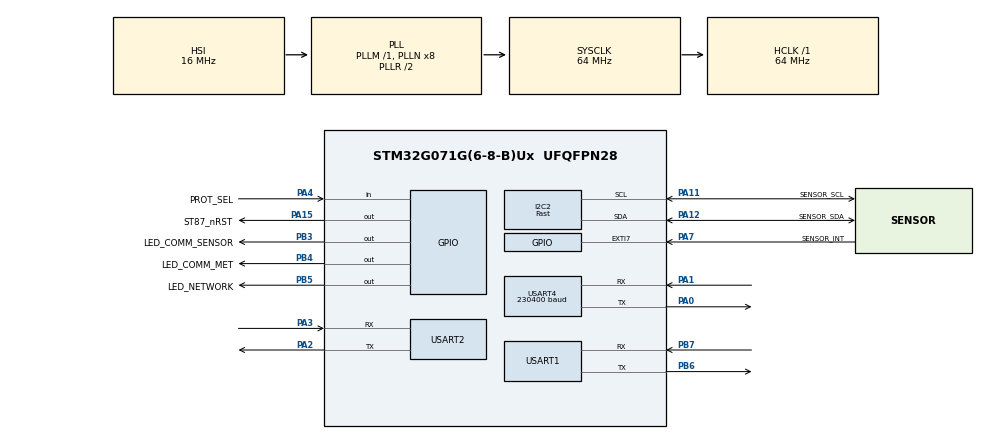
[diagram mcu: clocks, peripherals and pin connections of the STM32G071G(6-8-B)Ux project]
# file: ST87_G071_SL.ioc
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Dma.Request0=USART4_TX
Dma.USART4_TX.0.Direction=DMA_MEMORY_TO_PERIPH
Dma.USART4_TX.0.EventEnable=DISABLE
Dma.USART4_TX.0.Instance=DMA1_Channel4
Dma.USART4_TX.0.MemDataAlignment=DMA_MDATAALIGN_BYTE
Dma.USART4_TX.0.MemInc=DMA_MINC_ENABLE
Dma.USART4_TX.0.Mode=DMA_NORMAL
Dma.USART4_TX.0.PeriphDataAlignment=DMA_PDATAALIGN_BYTE
Dma.USART4_TX.0.PeriphInc=DMA_PINC_DISABLE
Dma.USART4_TX.0.Polarity=HAL_DMAMUX_REQ_GEN_RISING
Dma.USART4_TX.0.Priority=DMA_PRIORITY_LOW
Dma.USART4_TX.0.RequestNumber=1
Dma.USART4_TX.0.SignalID=NONE
Dma.USART4_TX.0.SyncEnable=DISABLE
Dma.USART4_TX.0.SyncPolarity=HAL_DMAMUX_SYNC_NO_EVENT
Dma.USART4_TX.0.SyncRequestNumber=1
Dma.USART4_TX.0.SyncSignalID=NONE
FREERTOS.Queues01=MetroQueue,1,20,1,Dynamic,NULL,NULL;SensorQueue,1,20,1,Dynamic,NULL,NULL;LedStatusQueue,1,4,1,Dynamic,NULL,NULL;MetroCommStatus,1,uint8_t,0,Dynamic,NULL,NULL;ST87CommStatus,1,uint8_t,0,Dynamic,NULL,NULL;LedStatusQueueCloud,1,4,1,Dynamic,NULL,NULL
FREERTOS.Tasks01=defaultTask,24,128,StartDefaultTask,Default,NULL,Dynamic,NULL,NULL;CloudTask,24,128,StartCloudTask,Default,NULL,Dynamic,NULL,NULL;MetroTask,24,128,StartMetroTask,Default,NULL,Dynamic,NULL,NULL;SensorTask,24,128,StartSensorTask,Default,NULL,Dynamic,NULL,NULL
FREERTOS.configTOTAL_HEAP_SIZE=12000
I2C2.I2C_Speed_Mode=I2C_Fast
I2C2.Timing=0x00C12166
Mcu.Family=STM32G0
Mcu.Name=STM32G071G(6-8-B)Ux
Mcu.Package=UFQFPN28
NVIC.DMA1_Ch4_7_DMAMUX1_OVR_IRQn=true\:3\:0\:false\:false\:true\:false\:false\:true\:true
NVIC.TIM1_BRK_UP_TRG_COM_IRQn=true\:1\:0\:true\:false\:true\:false\:true\:true\:true
NVIC.TIM6_DAC_LPTIM1_IRQn=true\:3\:0\:false\:false\:true\:false\:false\:true\:true
NVIC.TimeBase=TIM6_DAC_LPTIM1_IRQn
NVIC.TimeBaseIP=TIM6
NVIC.USART2_IRQn=true\:2\:0\:true\:false\:true\:false\:true\:true\:true
NVIC.USART3_4_LPUART1_IRQn=true\:3\:0\:false\:false\:true\:true\:true\:true\:true
PA0.Mode=Asynchronous
PA0.Signal=USART4_TX
PA1.Mode=Asynchronous
PA1.Signal=USART4_RX
PA11\ [PA9].GPIO_Label=SENSOR_SCL
PA11\ [PA9].Mode=I2C
PA11\ [PA9].Signal=I2C2_SCL
PA12\ [PA10].GPIO_Label=SENSOR_SDA
PA12\ [PA10].Mode=I2C
PA12\ [PA10].Signal=I2C2_SDA
PA15.GPIO_Label=ST87_nRST
PA15.Signal=GPIO_Output
PA2.GPIO_Speed=GPIO_SPEED_FREQ_MEDIUM
PA2.Mode=Asynchronous
PA2.Signal=USART2_TX
PA3.GPIO_Speed=GPIO_SPEED_FREQ_MEDIUM
PA3.Mode=Asynchronous
PA3.Signal=USART2_RX
PA4.GPIO_Label=PROT_SEL
PA4.GPIO_PuPd=GPIO_PULLUP
PA4.Signal=GPIO_Input
PA7.GPIO_Label=SENSOR_INT
PA7.GPIO_PuPd=GPIO_NOPULL
PA7.Signal=GPXTI7
PB3.GPIO_Label=LED_COMM_SENSOR
PB3.Signal=GPIO_Output
PB4.GPIO_Label=LED_COMM_MET
PB4.Signal=GPIO_Output
PB5.GPIO_Label=LED_NETWORK
PB5.Signal=GPIO_Output
PB6.Mode=Asynchronous
PB6.Signal=USART1_TX
PB7.Mode=Asynchronous
PB7.Signal=USART1_RX
ProjectManager.HeapSize=0x400
ProjectManager.StackSize=0x800
ProjectManager.TargetToolchain=EWARM V8.50
RCC.ADCFreq_Value=64000000
RCC.AHBFreq_Value=64000000
RCC.CortexFreq_Value=64000000
RCC.EXTERNAL_CLOCK_VALUE=48000
RCC.HCLKFreq_Value=64000000
RCC.HSE_VALUE=8000000
RCC.HSI_VALUE=16000000
RCC.LSE_VALUE=32768
RCC.PLLQ=RCC_PLLQ_DIV4
RCC.SYSCLKFreq_VALUE=64000000
RCC.SYSCLKSource=RCC_SYSCLKSOURCE_PLLCLK
RCC.VCOOutputFreq_Value=128000000
TIM1.Period=63999
USART1.DataInvertParam=ADVFEATURE_DATAINV_DISABLE
USART1.SwapParam=ADVFEATURE_SWAP_ENABLE
USART1.VirtualMode-Asynchronous=VM_ASYNC
USART2.SwapParam=ADVFEATURE_SWAP_ENABLE
USART2.VirtualMode-Asynchronous=VM_ASYNC
USART4.BaudRate=230400
USART4.VirtualMode-Asynchronous=VM_ASYNC
VP_FREERTOS_VS_CMSIS_V2.Mode=CMSIS_V2
VP_SYS_VS_DBSignals.Mode=DisableDeadBatterySignals
VP_SYS_VS_tim6.Mode=TIM6
VP_TIM1_VS_ClockSourceINT.Mode=Internal
board=custom

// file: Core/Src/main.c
/* USER CODE BEGIN Header */
/**
  ******************************************************************************
  * @file           : main.c
  * @brief          : Main program body
  ******************************************************************************
  * @attention
  *
  * Copyright (c) 2024 STMicroelectronics.
  * All rights reserved.
  *
  * This software is licensed under terms that can be found in the LICENSE file
  * in the root directory of this software component.
  * If no LICENSE file comes with this software, it is provided AS-IS.
  *
  ******************************************************************************
  */

/************** This version is based on ST87_G071_SL_V007_OK ************/
/********Compatible with ST87 FW version > 2.6.0 *******************
 * - added TCP/UDP selection through PA4 (P3 connector - pin1 )
 * - Tx time configurable from 5 to 60sec via webpage
 * - Stable connection with TIM
 * - changed size of cloud_data_t, lamp_info_t, led_status_t
 * - New webserver format
 */
/* USER CODE END Header */

#include "main.h"
#include "cmsis_os.h"

/* USER CODE BEGIN Includes */
#include "std_types.h"
#include "m2m_modem.h"
#include "stm32_st87m01.h"
#include "cloud_module.h"
#include "metrology_module.h"
#include "lis2du12_reg.h"
#include "sensor_module.h"
#include "modem_globals.h"
/* USER CODE END Includes */

I2C_HandleTypeDef hi2c2;

TIM_HandleTypeDef htim1;

UART_HandleTypeDef huart1;
UART_HandleTypeDef huart2;
UART_HandleTypeDef huart4;
DMA_HandleTypeDef hdma_usart4_tx;

/* Definitions for defaultTask */
osThreadId_t defaultTaskHandle;
const osThreadAttr_t defaultTask_attributes = {
  .name = "defaultTask",
  .priority = (osPriority_t) osPriorityNormal,
  .stack_size = 128 * 4
};
/* Definitions for CloudTask */
osThreadId_t CloudTaskHandle;
const osThreadAttr_t CloudTask_attributes = {
  .name = "CloudTask",
  .priority = (osPriority_t) osPriorityNormal,
  .stack_size = 128 * 4
};
/* Definitions for MetroTask */
osThreadId_t MetroTaskHandle;
const osThreadAttr_t MetroTask_attributes = {
  .name = "MetroTask",
  .priority = (osPriority_t) osPriorityNormal,
  .stack_size = 128 * 4
};
/* Definitions for SensorTask */
osThreadId_t SensorTaskHandle;
const osThreadAttr_t SensorTask_attributes = {
  .name = "SensorTask",
  .priority = (osPriority_t) osPriorityNormal,
  .stack_size = 128 * 4
};
/* Definitions for MetroQueue */
osMessageQueueId_t MetroQueueHandle;
const osMessageQueueAttr_t MetroQueue_attributes = {
  .name = "MetroQueue"
};
/* Definitions for SensorQueue */
osMessageQueueId_t SensorQueueHandle;
const osMessageQueueAttr_t SensorQueue_attributes = {
  .name = "SensorQueue"
};
/* Definitions for LedStatusQueue */
osMessageQueueId_t LedStatusQueueHandle;
const osMessageQueueAttr_t LedStatusQueue_attributes = {
  .name = "LedStatusQueue"
};
/* Definitions for MetroCommStatus */
osMessageQueueId_t MetroCommStatusHandle;
const osMessageQueueAttr_t MetroCommStatus_attributes = {
  .name = "MetroCommStatus"
};
/* Definitions for ST87CommStatus */
osMessageQueueId_t ST87CommStatusHandle;
const osMessageQueueAttr_t ST87CommStatus_attributes = {
  .name = "ST87CommStatus"
};
/* Definitions for LedStatusQueueCloud */
osMessageQueueId_t LedStatusQueueCloudHandle;
const osMessageQueueAttr_t LedStatusQueueCloud_attributes = {
  .name = "LedStatusQueueCloud"
};
/* USER CODE BEGIN PV */
uint32_t urc_counter=0;
uint8_t sckt_type;

/* USER CODE END PV */

void SystemClock_Config(void);
static void MX_GPIO_Init(void);
static void MX_DMA_Init(void);
static void MX_USART1_UART_Init(void);
static void MX_USART2_UART_Init(void);
static void MX_I2C2_Init(void);
static void MX_USART4_UART_Init(void);
void StartDefaultTask(void *argument);
void StartCloudTask(void *argument);
void StartMetroTask(void *argument);
void StartSensorTask(void *argument);

int main(void)
{

  /* MCU Configuration--------------------------------------------------------*/

  /* Reset of all peripherals, Initializes the Flash interface and the Systick. */
  HAL_Init();

  /* Configure the system clock */
  SystemClock_Config();

  /* Initialize all configured peripherals */
  MX_GPIO_Init();
  MX_DMA_Init();
  MX_USART1_UART_Init();
  MX_USART2_UART_Init();
  MX_I2C2_Init();
  MX_TIM1_Init();
  MX_USART4_UART_Init();
  /* USER CODE BEGIN 2 */
  /* Start Channel1 */
  if (HAL_TIM_Base_Start_IT(&htim1) != HAL_OK)
  {
    /* Starting Error */
    Error_Handler();
  }
  //all Leds ON
  HAL_GPIO_WritePin(LED_NETWORK_GPIO_Port,  LED_NETWORK_Pin, GPIO_PIN_RESET);
  HAL_GPIO_WritePin(LED_COMM_MET_GPIO_Port, LED_COMM_MET_Pin, GPIO_PIN_RESET);
  HAL_GPIO_WritePin(LED_COMM_SENSOR_GPIO_Port, LED_COMM_SENSOR_Pin, GPIO_PIN_RESET);

  HAL_Delay (1000);
  //all Leds OFF
  HAL_GPIO_WritePin(LED_NETWORK_GPIO_Port,  LED_NETWORK_Pin, GPIO_PIN_SET);
  HAL_GPIO_WritePin(LED_COMM_MET_GPIO_Port, LED_COMM_MET_Pin, GPIO_PIN_SET);
  HAL_GPIO_WritePin(LED_COMM_SENSOR_GPIO_Port, LED_COMM_SENSOR_Pin, GPIO_PIN_SET);

  //define the protocol used by the application
  if (HAL_GPIO_ReadPin(PROT_SEL_GPIO_Port, PROT_SEL_Pin)==GPIO_PIN_SET)
  {
    sckt_type = UDP_TYPE;
    HAL_GPIO_WritePin(LED_NETWORK_GPIO_Port,  LED_NETWORK_Pin, GPIO_PIN_RESET);
    HAL_Delay(1000);
    HAL_GPIO_WritePin(LED_NETWORK_GPIO_Port,  LED_NETWORK_Pin, GPIO_PIN_SET);
  }
  else
  {
    sckt_type = TCP_TYPE;
    HAL_GPIO_WritePin(LED_COMM_MET_GPIO_Port, LED_COMM_MET_Pin, GPIO_PIN_RESET);
    HAL_Delay(1000);
    HAL_GPIO_WritePin(LED_COMM_MET_GPIO_Port, LED_COMM_MET_Pin, GPIO_PIN_SET);
  }

  /* USER CODE END 2 */

  /* Init scheduler */
  osKernelInitialize();

  /* Create the queue(s) */
  /* creation of MetroQueue */
  MetroQueueHandle = osMessageQueueNew (1, 20, &MetroQueue_attributes);

  /* creation of SensorQueue */
  SensorQueueHandle = osMessageQueueNew (1, 20, &SensorQueue_attributes);

  /* creation of LedStatusQueue */
  LedStatusQueueHandle = osMessageQueueNew (1, 4, &LedStatusQueue_attributes);

  /* creation of MetroCommStatus */
  MetroCommStatusHandle = osMessageQueueNew (1, sizeof(uint8_t), &MetroCommStatus_attributes);

  /* creation of ST87CommStatus */
  ST87CommStatusHandle = osMessageQueueNew (1, sizeof(uint8_t), &ST87CommStatus_attributes);

  /* creation of LedStatusQueueCloud */
  LedStatusQueueCloudHandle = osMessageQueueNew (1, 4, &LedStatusQueueCloud_attributes);

  /* Create the thread(s) */
  /* creation of defaultTask */
  defaultTaskHandle = osThreadNew(StartDefaultTask, NULL, &defaultTask_attributes);

  /* creation of CloudTask */
  CloudTaskHandle = osThreadNew(StartCloudTask, NULL, &CloudTask_attributes);

  /* creation of MetroTask */
  MetroTaskHandle = osThreadNew(StartMetroTask, NULL, &MetroTask_attributes);

  /* creation of SensorTask */
  SensorTaskHandle = osThreadNew(StartSensorTask, NULL, &SensorTask_attributes);

  /* Start scheduler */
  osKernelStart();

  /* We should never get here as control is now taken by the scheduler */

  /* Infinite loop */
  while (1)
  {

  }
}

void SystemClock_Config(void)
{
  RCC_OscInitTypeDef RCC_OscInitStruct = {0};
  RCC_ClkInitTypeDef RCC_ClkInitStruct = {0};

  /** Configure the main internal regulator output voltage
  */
  HAL_PWREx_ControlVoltageScaling(PWR_REGULATOR_VOLTAGE_SCALE1);

  /** Initializes the RCC Oscillators according to the specified parameters
  * in the RCC_OscInitTypeDef structure.
  */
  RCC_OscInitStruct.OscillatorType = RCC_OSCILLATORTYPE_HSI;
  RCC_OscInitStruct.HSIState = RCC_HSI_ON;
  RCC_OscInitStruct.HSIDiv = RCC_HSI_DIV1;
  RCC_OscInitStruct.HSICalibrationValue = RCC_HSICALIBRATION_DEFAULT;
  RCC_OscInitStruct.PLL.PLLState = RCC_PLL_ON;
  RCC_OscInitStruct.PLL.PLLSource = RCC_PLLSOURCE_HSI;
  RCC_OscInitStruct.PLL.PLLM = RCC_PLLM_DIV1;
  RCC_OscInitStruct.PLL.PLLN = 8;
  RCC_OscInitStruct.PLL.PLLP = RCC_PLLP_DIV2;
  RCC_OscInitStruct.PLL.PLLQ = RCC_PLLQ_DIV4;
  RCC_OscInitStruct.PLL.PLLR = RCC_PLLR_DIV2;
  if (HAL_RCC_OscConfig(&RCC_OscInitStruct) != HAL_OK)
  {
    Error_Handler();
  }

  /** Initializes the CPU, AHB and APB buses clocks
  */
  RCC_ClkInitStruct.ClockType = RCC_CLOCKTYPE_HCLK|RCC_CLOCKTYPE_SYSCLK
                              |RCC_CLOCKTYPE_PCLK1;
  RCC_ClkInitStruct.SYSCLKSource = RCC_SYSCLKSOURCE_PLLCLK;
  RCC_ClkInitStruct.AHBCLKDivider = RCC_SYSCLK_DIV1;
  RCC_ClkInitStruct.APB1CLKDivider = RCC_HCLK_DIV1;

  if (HAL_RCC_ClockConfig(&RCC_ClkInitStruct, FLASH_LATENCY_2) != HAL_OK)
  {
    Error_Handler();
  }
}

static void MX_I2C2_Init(void)
{

  hi2c2.Instance = I2C2;
  hi2c2.Init.Timing = 0x00C12166;
  hi2c2.Init.OwnAddress1 = 0;
  hi2c2.Init.AddressingMode = I2C_ADDRESSINGMODE_7BIT;
  hi2c2.Init.DualAddressMode = I2C_DUALADDRESS_DISABLE;
  hi2c2.Init.OwnAddress2 = 0;
  hi2c2.Init.OwnAddress2Masks = I2C_OA2_NOMASK;
  hi2c2.Init.GeneralCallMode = I2C_GENERALCALL_DISABLE;
  hi2c2.Init.NoStretchMode = I2C_NOSTRETCH_DISABLE;
  if (HAL_I2C_Init(&hi2c2) != HAL_OK)
  {
    Error_Handler();
  }

  /** Configure Analogue filter
  */
  if (HAL_I2CEx_ConfigAnalogFilter(&hi2c2, I2C_ANALOGFILTER_ENABLE) != HAL_OK)
  {
    Error_Handler();
  }

  /** Configure Digital filter
  */
  if (HAL_I2CEx_ConfigDigitalFilter(&hi2c2, 0) != HAL_OK)
  {
    Error_Handler();
  }

}

void MX_TIM1_Init(void)
{

  TIM_ClockConfigTypeDef sClockSourceConfig = {0};
  TIM_MasterConfigTypeDef sMasterConfig = {0};

  htim1.Instance = TIM1;
  htim1.Init.Prescaler = 0;
  htim1.Init.CounterMode = TIM_COUNTERMODE_UP;
  htim1.Init.Period = 63999;
  htim1.Init.ClockDivision = TIM_CLOCKDIVISION_DIV1;
  htim1.Init.RepetitionCounter = 0;
  htim1.Init.AutoReloadPreload = TIM_AUTORELOAD_PRELOAD_DISABLE;
  if (HAL_TIM_Base_Init(&htim1) != HAL_OK)
  {
    Error_Handler();
  }
  sClockSourceConfig.ClockSource = TIM_CLOCKSOURCE_INTERNAL;
  if (HAL_TIM_ConfigClockSource(&htim1, &sClockSourceConfig) != HAL_OK)
  {
    Error_Handler();
  }
  sMasterConfig.MasterOutputTrigger = TIM_TRGO_RESET;
  sMasterConfig.MasterOutputTrigger2 = TIM_TRGO2_RESET;
  sMasterConfig.MasterSlaveMode = TIM_MASTERSLAVEMODE_DISABLE;
  if (HAL_TIMEx_MasterConfigSynchronization(&htim1, &sMasterConfig) != HAL_OK)
  {
    Error_Handler();
  }

}

static void MX_USART1_UART_Init(void)
{

  huart1.Instance = USART1;
  huart1.Init.BaudRate = 115200;
  huart1.Init.WordLength = UART_WORDLENGTH_8B;
  huart1.Init.StopBits = UART_STOPBITS_1;
  huart1.Init.Parity = UART_PARITY_NONE;
  huart1.Init.Mode = UART_MODE_TX_RX;
  huart1.Init.HwFlowCtl = UART_HWCONTROL_NONE;
  huart1.Init.OverSampling = UART_OVERSAMPLING_16;
  huart1.Init.OneBitSampling = UART_ONE_BIT_SAMPLE_DISABLE;
  huart1.Init.ClockPrescaler = UART_PRESCALER_DIV1;
  huart1.AdvancedInit.AdvFeatureInit = UART_ADVFEATURE_SWAP_INIT;
  huart1.AdvancedInit.Swap = UART_ADVFEATURE_SWAP_ENABLE;
  if (HAL_UART_Init(&huart1) != HAL_OK)
  {
    Error_Handler();
  }
  if (HAL_UARTEx_SetTxFifoThreshold(&huart1, UART_TXFIFO_THRESHOLD_1_8) != HAL_OK)
  {
    Error_Handler();
  }
  if (HAL_UARTEx_SetRxFifoThreshold(&huart1, UART_RXFIFO_THRESHOLD_1_8) != HAL_OK)
  {
    Error_Handler();
  }
  if (HAL_UARTEx_DisableFifoMode(&huart1) != HAL_OK)
  {
    Error_Handler();
  }
  /* USER CODE BEGIN USART1_Init 2 */
  //NVIC_SetPriority(USART1_IRQn, NVIC_EncodePriority(NVIC_GetPriorityGrouping(),5, 0));
  //NVIC_EnableIRQ(USART1_IRQn);
  /* USER CODE END USART1_Init 2 */

}

static void MX_USART2_UART_Init(void)
{

  huart2.Instance = USART2;
  huart2.Init.BaudRate = 115200;
  huart2.Init.WordLength = UART_WORDLENGTH_8B;
  huart2.Init.StopBits = UART_STOPBITS_1;
  huart2.Init.Parity = UART_PARITY_NONE;
  huart2.Init.Mode = UART_MODE_TX_RX;
  huart2.Init.HwFlowCtl = UART_HWCONTROL_NONE;
  huart2.Init.OverSampling = UART_OVERSAMPLING_16;
  huart2.Init.OneBitSampling = UART_ONE_BIT_SAMPLE_DISABLE;
  huart2.Init.ClockPrescaler = UART_PRESCALER_DIV1;
  huart2.AdvancedInit.AdvFeatureInit = UART_ADVFEATURE_SWAP_INIT;
  huart2.AdvancedInit.Swap = UART_ADVFEATURE_SWAP_ENABLE;
  if (HAL_UART_Init(&huart2) != HAL_OK)
  {
    Error_Handler();
  }
  if (HAL_UARTEx_SetTxFifoThreshold(&huart2, UART_TXFIFO_THRESHOLD_1_8) != HAL_OK)
  {
    Error_Handler();
  }
  if (HAL_UARTEx_SetRxFifoThreshold(&huart2, UART_RXFIFO_THRESHOLD_1_8) != HAL_OK)
  {
    Error_Handler();
  }
  if (HAL_UARTEx_DisableFifoMode(&huart2) != HAL_OK)
  {
    Error_Handler();
  }

}

static void MX_USART4_UART_Init(void)
{

  huart4.Instance = USART4;
  huart4.Init.BaudRate = 230400;
  huart4.Init.WordLength = UART_WORDLENGTH_8B;
  huart4.Init.StopBits = UART_STOPBITS_1;
  huart4.Init.Parity = UART_PARITY_NONE;
  huart4.Init.Mode = UART_MODE_TX_RX;
  huart4.Init.HwFlowCtl = UART_HWCONTROL_NONE;
  huart4.Init.OverSampling = UART_OVERSAMPLING_16;
  huart4.Init.OneBitSampling = UART_ONE_BIT_SAMPLE_DISABLE;
  huart4.Init.ClockPrescaler = UART_PRESCALER_DIV1;
  huart4.AdvancedInit.AdvFeatureInit = UART_ADVFEATURE_NO_INIT;
  if (HAL_UART_Init(&huart4) != HAL_OK)
  {
    Error_Handler();
  }

}

static void MX_DMA_Init(void)
{

  /* DMA controller clock enable */
  __HAL_RCC_DMA1_CLK_ENABLE();

  /* DMA interrupt init */
  /* DMA1_Ch4_7_DMAMUX1_OVR_IRQn interrupt configuration */
  HAL_NVIC_SetPriority(DMA1_Ch4_7_DMAMUX1_OVR_IRQn, 3, 0);
  HAL_NVIC_EnableIRQ(DMA1_Ch4_7_DMAMUX1_OVR_IRQn);

}

static void MX_GPIO_Init(void)
{
  LL_EXTI_InitTypeDef EXTI_InitStruct = {0};
  LL_GPIO_InitTypeDef GPIO_InitStruct = {0};

  /* GPIO Ports Clock Enable */
  LL_IOP_GRP1_EnableClock(LL_IOP_GRP1_PERIPH_GPIOA);
  LL_IOP_GRP1_EnableClock(LL_IOP_GRP1_PERIPH_GPIOB);

  /**/
  LL_GPIO_ResetOutputPin(ST87_nRST_GPIO_Port, ST87_nRST_Pin);

  /**/
  LL_GPIO_ResetOutputPin(LED_COMM_SENSOR_GPIO_Port, LED_COMM_SENSOR_Pin);

  /**/
  LL_GPIO_ResetOutputPin(LED_COMM_MET_GPIO_Port, LED_COMM_MET_Pin);

  /**/
  LL_GPIO_ResetOutputPin(LED_NETWORK_GPIO_Port, LED_NETWORK_Pin);

  /**/
  GPIO_InitStruct.Pin = PROT_SEL_Pin;
  GPIO_InitStruct.Mode = LL_GPIO_MODE_INPUT;
  GPIO_InitStruct.Pull = LL_GPIO_PULL_UP;
  LL_GPIO_Init(PROT_SEL_GPIO_Port, &GPIO_InitStruct);

  /**/
  GPIO_InitStruct.Pin = ST87_nRST_Pin;
  GPIO_InitStruct.Mode = LL_GPIO_MODE_OUTPUT;
  GPIO_InitStruct.Speed = LL_GPIO_SPEED_FREQ_LOW;
  GPIO_InitStruct.OutputType = LL_GPIO_OUTPUT_PUSHPULL;
  GPIO_InitStruct.Pull = LL_GPIO_PULL_NO;
  LL_GPIO_Init(ST87_nRST_GPIO_Port, &GPIO_InitStruct);

  /**/
  GPIO_InitStruct.Pin = LED_COMM_SENSOR_Pin;
  GPIO_InitStruct.Mode = LL_GPIO_MODE_OUTPUT;
  GPIO_InitStruct.Speed = LL_GPIO_SPEED_FREQ_LOW;
  GPIO_InitStruct.OutputType = LL_GPIO_OUTPUT_PUSHPULL;
  GPIO_InitStruct.Pull = LL_GPIO_PULL_NO;
  LL_GPIO_Init(LED_COMM_SENSOR_GPIO_Port, &GPIO_InitStruct);

  /**/
  GPIO_InitStruct.Pin = LED_COMM_MET_Pin;
  GPIO_InitStruct.Mode = LL_GPIO_MODE_OUTPUT;
  GPIO_InitStruct.Speed = LL_GPIO_SPEED_FREQ_LOW;
  GPIO_InitStruct.OutputType = LL_GPIO_OUTPUT_PUSHPULL;
  GPIO_InitStruct.Pull = LL_GPIO_PULL_NO;
  LL_GPIO_Init(LED_COMM_MET_GPIO_Port, &GPIO_InitStruct);

  /**/
  GPIO_InitStruct.Pin = LED_NETWORK_Pin;
  GPIO_InitStruct.Mode = LL_GPIO_MODE_OUTPUT;
  GPIO_InitStruct.Speed = LL_GPIO_SPEED_FREQ_LOW;
  GPIO_InitStruct.OutputType = LL_GPIO_OUTPUT_PUSHPULL;
  GPIO_InitStruct.Pull = LL_GPIO_PULL_NO;
  LL_GPIO_Init(LED_NETWORK_GPIO_Port, &GPIO_InitStruct);

  /**/
  LL_EXTI_SetEXTISource(LL_EXTI_CONFIG_PORTA, LL_EXTI_CONFIG_LINE7);

  /**/
  EXTI_InitStruct.Line_0_31 = LL_EXTI_LINE_7;
  EXTI_InitStruct.LineCommand = ENABLE;
  EXTI_InitStruct.Mode = LL_EXTI_MODE_IT;
  EXTI_InitStruct.Trigger = LL_EXTI_TRIGGER_RISING;
  LL_EXTI_Init(&EXTI_InitStruct);

  /**/
  LL_GPIO_SetPinPull(SENSOR_INT_GPIO_Port, SENSOR_INT_Pin, LL_GPIO_PULL_NO);

  /**/
  LL_GPIO_SetPinMode(SENSOR_INT_GPIO_Port, SENSOR_INT_Pin, LL_GPIO_MODE_INPUT);

}

void StartDefaultTask(void *argument)
{
  for(;;)
  {
    osDelay(1);
  }
}

void StartCloudTask(void *argument)
{
  /* USER CODE BEGIN StartCloudTask */

  /*Init modem peripherals */
  m2m_modem_init();

  /* Infinite loop */

//  osMessageQueueGet(MetQueue01Handle, &gbu[0] , 0,0);
  demo_controller();
  //mqtt_demo_controller();
  //mqtt_demo_controller_ST87DEMO();
  /* USER CODE END StartCloudTask */
}

void StartMetroTask(void *argument)
{
  /* USER CODE BEGIN StartMetroTask */
   Metrology_controller_init ();

  /* Infinite loop */
  for(;;)
  {
    Metrology_controler ();
  }
  /* USER CODE END StartMetroTask */
}

void StartSensorTask(void *argument)
{
  /* USER CODE BEGIN StartSensorTask */
  Sensor_Init();

  /* Infinite loop */
  for(;;)
  {
    Sensor_Controller ();
  }
  /* USER CODE END StartSensorTask */
}

void HAL_TIM_PeriodElapsedCallback(TIM_HandleTypeDef *htim)
{
  if (htim->Instance == TIM6)
  {
    HAL_IncTick();
  }
  /* USER CODE BEGIN Callback 1 */
  if (htim->Instance == TIM_MODEM)
  {
    modemTick++;
    if (modemTimeout)
    {
      modemTimeout--;
    }
    Modem_TIM_Handler (htim);
  }
  /* USER CODE END Callback 1 */
}

void Error_Handler(void)
{
  __disable_irq();
  while (1)
  {
  }
}
